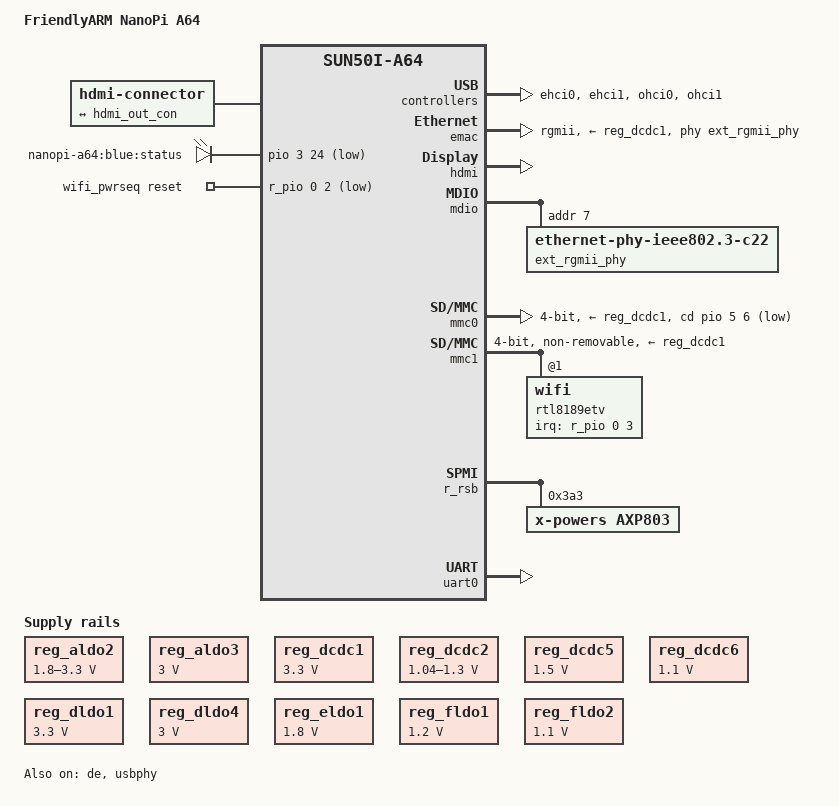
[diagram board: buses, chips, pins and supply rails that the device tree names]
// SPDX-License-Identifier: (GPL-2.0+ OR MIT)
// Copyright (C) 2017 Jagan Teki <jteki@openedev.com>

/dts-v1/;

#include "sun50i-a64.dtsi"
#include "sun50i-a64-cpu-opp.dtsi"

#include <dt-bindings/gpio/gpio.h>

/ {
	model = "FriendlyARM NanoPi A64";
	compatible = "friendlyarm,nanopi-a64", "allwinner,sun50i-a64";

	aliases {
		ethernet0 = &emac;
		serial0 = &uart0;
	};

	chosen {
		stdout-path = "serial0:115200n8";
	};

	hdmi-connector {
		compatible = "hdmi-connector";
		type = "a";

		port {
			hdmi_con_in: endpoint {
				remote-endpoint = <&hdmi_out_con>;
			};
		};
	};

	leds {
		compatible = "gpio-leds";

		led {
			label = "nanopi-a64:blue:status";
			gpios = <&pio 3 24 GPIO_ACTIVE_LOW>; /* PD24 */
		};
	};

	wifi_pwrseq: pwrseq {
		compatible = "mmc-pwrseq-simple";
		clocks = <&rtc CLK_OSC32K_FANOUT>;
		clock-names = "ext_clock";
		reset-gpios = <&r_pio 0 2 GPIO_ACTIVE_LOW>; /* PL2 */
	};
};

&cpu0 {
	cpu-supply = <&reg_dcdc2>;
};

&cpu1 {
	cpu-supply = <&reg_dcdc2>;
};

&cpu2 {
	cpu-supply = <&reg_dcdc2>;
};

&cpu3 {
	cpu-supply = <&reg_dcdc2>;
};

&de {
	status = "okay";
};

&ehci0 {
	status = "okay";
};

&ehci1 {
	status = "okay";
};

&emac {
	pinctrl-names = "default";
	pinctrl-0 = <&rgmii_pins>;
	phy-mode = "rgmii";
	phy-handle = <&ext_rgmii_phy>;
	phy-supply = <&reg_dcdc1>;
	status = "okay";
};

&hdmi {
	hvcc-supply = <&reg_dldo1>;
	status = "okay";
};

&hdmi_out {
	hdmi_out_con: endpoint {
		remote-endpoint = <&hdmi_con_in>;
	};
};

/* i2c1 connected with gpio headers like pine64, bananapi */
&i2c1_pins {
	bias-pull-up;
};

&mdio {
	ext_rgmii_phy: ethernet-phy@1 {
		compatible = "ethernet-phy-ieee802.3-c22";
		reg = <7>;
	};
};

&mmc0 {
	pinctrl-names = "default";
	pinctrl-0 = <&mmc0_pins>;
	vmmc-supply = <&reg_dcdc1>;
	cd-gpios = <&pio 5 6 GPIO_ACTIVE_LOW>;
	disable-wp;
	bus-width = <4>;
	status = "okay";
};

&mmc1 {
	pinctrl-names = "default";
	pinctrl-0 = <&mmc1_pins>;
	vmmc-supply = <&reg_dcdc1>;
	vqmmc-supply = <&reg_dldo4>;
	mmc-pwrseq = <&wifi_pwrseq>;
	bus-width = <4>;
	non-removable;
	status = "okay";

	rtl8189etv: wifi@1 {
		reg = <1>;
		interrupt-parent = <&r_pio>;
		interrupts = <0 3 IRQ_TYPE_LEVEL_LOW>; /* PL3 */
		interrupt-names = "host-wake";
	};
};

&ohci0 {
	status = "okay";
};

&ohci1 {
	status = "okay";
};

&r_rsb {
	status = "okay";

	axp803: pmic@3a3 {
		compatible = "x-powers,axp803";
		reg = <0x3a3>;
		interrupt-parent = <&r_intc>;
		interrupts = <GIC_SPI 32 IRQ_TYPE_LEVEL_LOW>;
	};
};

#include "axp803.dtsi"

&ac_power_supply {
	status = "okay";
};

&reg_aldo2 {
	regulator-always-on;
	regulator-min-microvolt = <1800000>;
	regulator-max-microvolt = <3300000>;
	regulator-name = "vcc-pl";
};

&reg_aldo3 {
	regulator-always-on;
	regulator-min-microvolt = <3000000>;
	regulator-max-microvolt = <3000000>;
	regulator-name = "vcc-pll-avcc";
};

&reg_dcdc1 {
	regulator-always-on;
	regulator-min-microvolt = <3300000>;
	regulator-max-microvolt = <3300000>;
	regulator-name = "vcc-3v3";
};

&reg_dcdc2 {
	regulator-always-on;
	regulator-min-microvolt = <1040000>;
	regulator-max-microvolt = <1300000>;
	regulator-name = "vdd-cpux";
};

/* DCDC3 is polyphased with DCDC2 */

&reg_dcdc5 {
	regulator-always-on;
	regulator-min-microvolt = <1500000>;
	regulator-max-microvolt = <1500000>;
	regulator-name = "vcc-dram";
};

&reg_dcdc6 {
	regulator-always-on;
	regulator-min-microvolt = <1100000>;
	regulator-max-microvolt = <1100000>;
	regulator-name = "vdd-sys";
};

&reg_dldo1 {
	regulator-always-on;
	regulator-min-microvolt = <3300000>;
	regulator-max-microvolt = <3300000>;
	regulator-name = "vcc-hdmi-dsi";
};

&reg_dldo4 {
	regulator-always-on;
	regulator-min-microvolt = <3000000>;
	regulator-max-microvolt = <3000000>;
	regulator-name = "vcc-pg-wifi-io";
};

&reg_eldo1 {
	regulator-min-microvolt = <1800000>;
	regulator-max-microvolt = <1800000>;
	regulator-name = "cpvdd";
};

&reg_fldo1 {
	regulator-min-microvolt = <1200000>;
	regulator-max-microvolt = <1200000>;
	regulator-name = "vcc-1v2-hsic";
};

/*
 * The A64 chip cannot work without this regulator off, although
 * it seems to be only driving the AR100 core.
 * Maybe we don't still know well about CPUs domain.
 */
&reg_fldo2 {
	regulator-always-on;
	regulator-min-microvolt = <1100000>;
	regulator-max-microvolt = <1100000>;
	regulator-name = "vdd-cpus";
};

&reg_rtc_ldo {
	regulator-name = "vcc-rtc";
};

&simplefb_hdmi {
	vcc-hdmi-supply = <&reg_dldo1>;
};

&uart0 {
	pinctrl-names = "default";
	pinctrl-0 = <&uart0_pb_pins>;
	status = "okay";
};

&usbphy {
	status = "okay";
};
